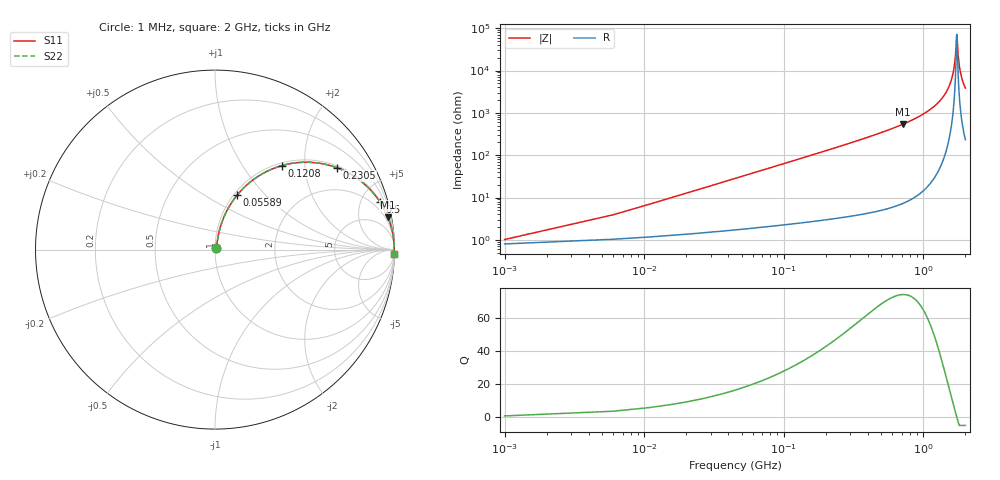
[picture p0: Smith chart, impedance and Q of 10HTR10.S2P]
! Coilcraft 1008HT-R10 Chip Inductor
! 16 July 2002
# MHZ S MA R 50
!Freq  MagS11  AngS11  MagS21  AngS21  MagS12  AngS12  MagS22  AngS22
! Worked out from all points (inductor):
!   402 points, 1 MHz to 2 GHz, reference 50 ohm
!   read as one part in series: L = 100 nH near 10.98 MHz
!   highest Q = 74.5 at 709.6 MHz (marker M1), where L = 120 nH
!   self-resonance near 1.733 GHz
!   S11 on the Smith chart (normalised r, x): 1 MHz: 1.02, +0.01; 55.89 MHz: 1.04, +0.70; 120.8 MHz: 1.05, +1.52; 230.5 MHz: 1.06, +2.95; 500 MHz: 1.10, +6.85; 2 GHz: 6, -77
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1  0.01009 37.8  0.992 -0.4  0.992 -0.4  0.01009 37.8
15.97  0.0994 77.1  0.9826 -5.7  0.9826 -5.7  0.0994 77.1
20.96  0.1295 76.6  0.9782 -7.4  0.9782 -7.4  0.1295 76.6
35.93  0.2175 73.4  0.9608 -12.5  0.9608 -12.5  0.2175 73.4
55.89  0.3267 68.0  0.9282 -19.0  0.9282 -19.0  0.3267 68.0
120.76  0.5975 51.5  0.7832 -36.7  0.7832 -36.7  0.5975 51.5
230.54  0.8196 33.7  0.5557 -55.0  0.5557 -55.0  0.8196 33.7
335.33  0.9036 24.4  0.4128 -64.6  0.4128 -64.6  0.9036 24.4
500  0.9562 16.2  0.2791 -73.0  0.2791 -73.0  0.9562 16.2
669.66  0.9776 11.4  0.1978 -77.8  0.1978 -77.8  0.9776 11.4
709.58  0.9806 10.6  0.1832 -78.7  0.1832 -78.7  0.9806 10.6
1003.99  0.9929 6.0  0.1048 -83.1  0.1048 -83.1  0.9929 6.0
1338.32  0.9975 2.8  0.04818 -85.6  0.04818 -85.6  0.9975 2.8
1547.9  0.9984 1.2  0.02113 -85.2  0.02113 -85.2  0.9984 1.2
1617.76  0.9986 0.7  0.01305 -83.3  0.01305 -83.3  0.9986 0.7
1667.66  0.9986 0.4  0.007537 -79.1  0.007537 -79.1  0.9986 0.4
1692.61  0.9986 0.3  0.004891 -73.4  0.004891 -73.4  0.9986 0.3
1737.52  0.9986 -0.0  0.001402 4.1  0.001402 4.1  0.9986 -0.0
1782.43  0.9986 -0.3  0.004979 73.1  0.004979 73.1  0.9986 -0.3
1827.34  0.9985 -0.5  0.00944 80.6  0.00944 80.6  0.9985 -0.5
1902.19  0.9984 -1.0  0.01676 83.9  0.01676 83.9  0.9984 -1.0
2000  0.9981 -1.5  0.02597 85.1  0.02597 85.1  0.9981 -1.5
